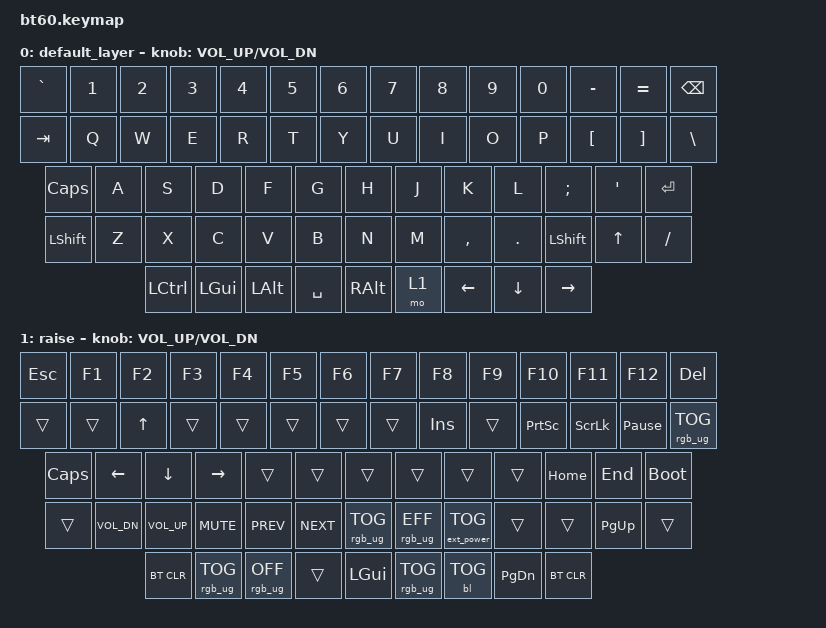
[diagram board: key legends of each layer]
#include <behaviors.dtsi>
#include <dt-bindings/zmk/keys.h>
#include <dt-bindings/zmk/bt.h>
#include <dt-bindings/zmk/rgb.h>
#include <dt-bindings/zmk/backlight.h>
#include <dt-bindings/zmk/ext_power.h>

/ {
	keymap {
		compatible = "zmk,keymap";

		default_layer {
				// ------------------------------------------------------------------------------------------
				// |  GRAVE    |  1  |  2  |  3  |  4  |  5  |  6  |  7  |  8  |  9  |  0  |  -  |  =  |   BKSP
				// | TAB       |  Q  |  W  |  E  |  R  |  T  |  Y  |  U  |  I  |  O  |  P  |  [  |  ]  |   |
				// | CAPS      |  A  |  S  |  D  |  F  |  G  |  H  |  J  |  K  |  L  |  ;  |  '  |     ENTER
				// |  SHIFT    |  Z  |  X  |  C  |  V  |  B  |  N  |  M  |  ,  |  .  | SHIFT   |  UP | /
				// |  CTL  |  WIN  |  ALT  |            SPACE                  | ALT | 1   | LEFT | DOWN | RIGHT
				// ------------------------------------------------------------------------------------------
			bindings = <

				&kp GRAVE &kp N1 &kp N2 &kp N3 &kp N4 &kp N5 &kp N6 &kp N7 &kp  N8   &kp  N9 &kp  N0  &kp MINUS &kp EQUAL &kp BSPC
				&kp TAB  &kp Q  &kp W  &kp E  &kp R  &kp T  &kp Y  &kp U  &kp  I    &kp  O  &kp  P   &kp LBKT &kp RBKT   &kp BSLH
				&kp CAPS  &kp A  &kp S  &kp D  &kp F  &kp G  &kp H  &kp J  &kp  K    &kp  L  &kp SEMI &kp SQT            &kp RET
				&kp LSHFT  &kp Z  &kp X  &kp C  &kp V  &kp B  &kp N  &kp M  &kp COMMA &kp DOT &kp LSHIFT   &kp UP   &kp FSLH
				&kp LCTRL &kp LGUI &kp LALT            &kp SPACE                          &kp RALT  &mo 1 &kp LEFT &kp DOWN &kp RIGHT
			>;
			sensor-bindings = <&inc_dec_kp C_VOL_UP C_VOL_DN>;
		};
		raise {
			bindings = <
				&kp ESC &kp F1 &kp F2 &kp F3 &kp F4 &kp F5 &kp F6 &kp F7 &kp F8 &kp F9 &kp F10 &kp F11 &kp F12 &kp DEL
				&trans &trans &kp UP &trans &trans &trans &trans &trans &kp INS &trans &kp PSCRN &kp SLCK &kp PAUSE_BREAK &rgb_ug RGB_TOG
				&kp CAPS    &kp LEFT &kp DOWN &kp RIGHT &trans &trans &trans &trans &trans &trans &kp HOME  &kp END   &bootloader
				&trans &kp C_VOL_DN &kp C_VOL_UP &kp C_MUTE &kp C_PREV &kp C_NEXT &rgb_ug RGB_TOG &rgb_ug RGB_EFF &ext_power EP_TOG &trans &trans &kp PG_UP   &trans
				&bt BT_CLR &rgb_ug RGB_TOG  &rgb_ug RGB_OFF              &trans                            &kp LGUI  &rgb_ug RGB_TOG  &bl BL_TOG &kp PG_DN &bt BT_CLR
			>;
			sensor-bindings = <&inc_dec_kp C_VOL_UP C_VOL_DN>;
		};
	};
};
